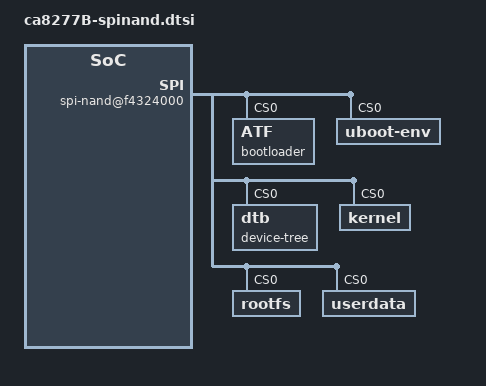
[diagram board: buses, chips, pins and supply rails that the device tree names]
/*
 * Copyright (c) 2019-, Cortina Access. All rights reserved.
 *
 * Redistribution and use in source and binary forms, with or without
 * modification, are permitted provided that the following conditions are met:
 *
 * Redistributions of source code must retain the above copyright notice, this
 * list of conditions and the following disclaimer.
 *
 * Redistributions in binary form must reproduce the above copyright notice,
 * this list of conditions and the following disclaimer in the documentation
 * and/or other materials provided with the distribution.
 *
 * THIS SOFTWARE IS PROVIDED BY THE COPYRIGHT HOLDERS AND CONTRIBUTORS "AS IS"
 * AND ANY EXPRESS OR IMPLIED WARRANTIES, INCLUDING, BUT NOT LIMITED TO, THE
 * IMPLIED WARRANTIES OF MERCHANTABILITY AND FITNESS FOR A PARTICULAR PURPOSE
 * ARE DISCLAIMED. IN NO EVENT SHALL THE COPYRIGHT HOLDER OR CONTRIBUTORS BE
 * LIABLE FOR ANY DIRECT, INDIRECT, INCIDENTAL, SPECIAL, EXEMPLARY, OR
 * CONSEQUENTIAL DAMAGES (INCLUDING, BUT NOT LIMITED TO, PROCUREMENT OF
 * SUBSTITUTE GOODS OR SERVICES; LOSS OF USE, DATA, OR PROFITS; OR BUSINESS
 * INTERRUPTION) HOWEVER CAUSED AND ON ANY THEORY OF LIABILITY, WHETHER IN
 * CONTRACT, STRICT LIABILITY, OR TORT (INCLUDING NEGLIGENCE OR OTHERWISE)
 * ARISING IN ANY WAY OUT OF THE USE OF THIS SOFTWARE, EVEN IF ADVISED OF THE
 * POSSIBILITY OF SUCH DAMAGE.
 */

/ {
	spi-nand@f4324000 {
		#address-cells = <2>;
		#size-cells = <2>;
		compatible = "cortina,spi-nand";
		reg = <0x00000004 0xf4324000 0x0 0x40>;
		/* spinand,mfr-name = "micron"; */
		io-mode = <0xa00>;	/*  #define SPI_TX_QUAD 0x200
								#define SPI_RX_DUAL 0x400
								#define SPI_RX_QUAD 0x800
							*/
		/* Quard mode IO need to hook PINCTRL for pin-multiplexing */
		/* pinctrl-0 = <&sflash4_ctrl_default>; */
		/* pinctrl-names = "default"; */

		ATF@0 {
			label = "bootloader";
			reg = <0x0 0x0 0x0 0x400000>;
		};

		uboot-env@400000 {
			label = "uboot-env";
			reg = <0x0 0x400000 0x0 0x100000>;
		};

		dtb@500000 {
			label = "device-tree";
			reg = <0x0 0x500000 0x0 0x100000>;
		};

		kernel@600000 {
			label = "kernel";
			reg = <0x0 0x600000 0x0 0x600000>;
		};

		rootfs@C00000 {
			label = "rootfs";
			reg = <0x0 0xC00000 0x0 0x5000000>;
		};

		userdata@5C00000{
			label = "userdata";
			reg = <0x0 0x5C00000 0x0 0x1400000>;
		};
	};
};
